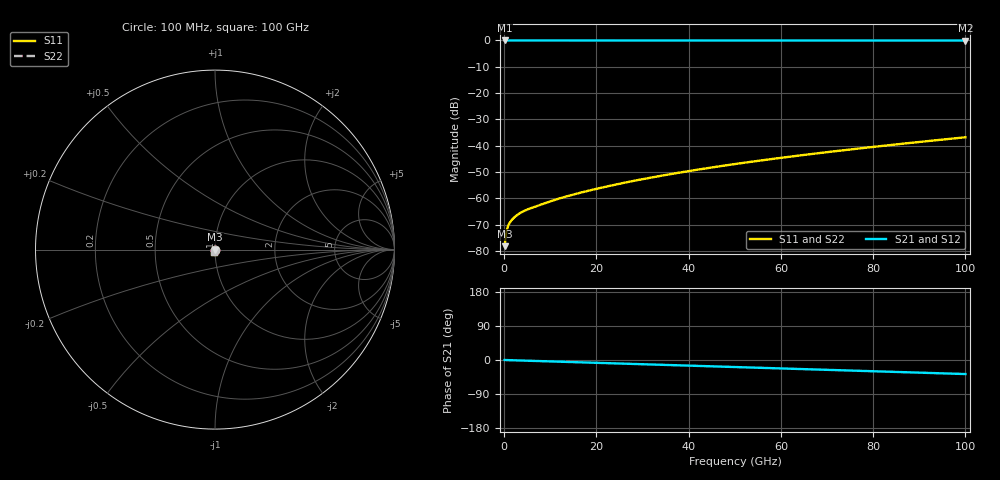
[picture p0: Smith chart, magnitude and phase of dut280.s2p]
! Touchstone file exported from HFSS 2026.1.0
!  File:  C:/ffzhzh/LocalFiles/Ansys_Project_Files/temp_train_TSV_280_1783508807_55944.aedt
!  Generated:  07:07:53 PM Jul  8, 2026
!  Design:  TSV
!  Project:  temp_train_TSV_280_1783508807_55944
! Variables:
!  h_bsmrdl = 2um
!  h_ox = 20um
!  h_rdl = 5um
!  h_sub = 74.26um
!  h_tmrdl = 5um
!  h_tsv = 74.26um
!  h_via = 3um
!  l_bsmrdl = 300um
!  l_sub = 420.46um
!  l_tmrdl = 200um
!  m_sub = 200um
!  pitch = 41.02um
!  r_tsv = 10.23um
!  s_tmrdl = 10um
!  w_bsmrdl = 18um
!  w_sub = 500um
!  w_tmrdl = 12um
!  x_tsv_center1 = 206um
!  x_tsv_center2 = 524um
!  x_tsv_center3 = 736um
!  x_tsv_center4 = 1054um
!  x_tsv_center5 = 1266um
!  x_tsv_center6 = 1584um
# GHz S MA R 50.000000
! Terminal data exported
! Port[1] = TSV1_1_T1
! Port[2] = TSV1_1_T2
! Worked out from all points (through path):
!   1000 points, 100 MHz to 100 GHz, reference 50 ohm
!   highest |S21| = 0.00 dB at 100 MHz (marker M1); lowest = 0.0 dB at 100 GHz (marker M2)
!   group delay of S21, straight-line fit = 1.03 ps
!   lowest |S11| = -78.2 dB at 100 MHz (marker M3), VSWR 1.00, Z = 50 + j0.00365 ohm
!   |S11| at or under -10 dB: start of sweep to end of sweep
!   |S22| runs from -78.2 to -36.8 dB; largest |S21 - S12| = 3.2e-15
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0.1  0.0001229 17.3  0.9999 -0.0  0.9999 -0.0  0.0001229 17.3
! Gamma 0 0 0 0
! Port Impedance 50 0 50 0
0.4  0.0002053 34.5  0.9998 -0.2  0.9998 -0.2  0.0002053 34.5
0.8  0.0002889 32.3  0.9998 -0.3  0.9998 -0.3  0.0002888 32.3
1  0.000317 30.7  0.9997 -0.4  0.9997 -0.4  0.000317 30.7
1.2  0.0003407 29.2  0.9997 -0.5  0.9997 -0.5  0.0003407 29.3
1.6  0.0003812 26.9  0.9997 -0.6  0.9997 -0.6  0.0003812 26.9
2.1  0.0004254 24.2  0.9996 -0.8  0.9996 -0.8  0.0004254 24.2
2.7  0.0004726 20.8  0.9996 -1.0  0.9996 -1.0  0.0004725 20.8
3.3  0.0005141 17.3  0.9995 -1.2  0.9995 -1.2  0.000514 17.3
4.2  0.000568 12.1  0.9994 -1.6  0.9994 -1.6  0.0005678 12.1
5.3  0.0006246 6.1  0.9994 -2.0  0.9994 -2.0  0.0006243 6.1
10.3  0.0008909 -15.6  0.9991 -3.8  0.9991 -3.8  0.00089 -15.6
13.3  0.001071 -25.7  0.999 -4.9  0.999 -4.9  0.001069 -25.7
16.8  0.001293 -35.7  0.9989 -6.2  0.9989 -6.2  0.001291 -35.7
24.5  0.001847 -52.1  0.9986 -9.1  0.9986 -9.1  0.001843 -52.2
33.4  0.002618 -65.5  0.9984 -12.4  0.9984 -12.4  0.002612 -65.7
41.4  0.00344 -74.8  0.9982 -15.3  0.9982 -15.3  0.003432 -75.1
50.1  0.004482 -83.3  0.998 -18.5  0.998 -18.5  0.004472 -83.6
58  0.005573 -90.0  0.9979 -21.5  0.9979 -21.5  0.005562 -90.3
66.7  0.006952 -96.6  0.9977 -24.7  0.9977 -24.7  0.00694 -96.9
83.4  0.01021 -107.6  0.9973 -30.9  0.9973 -30.9  0.0102 -107.9
100  0.01445 -117.5  0.9969 -37.1  0.9969 -37.1  0.01443 -117.8
